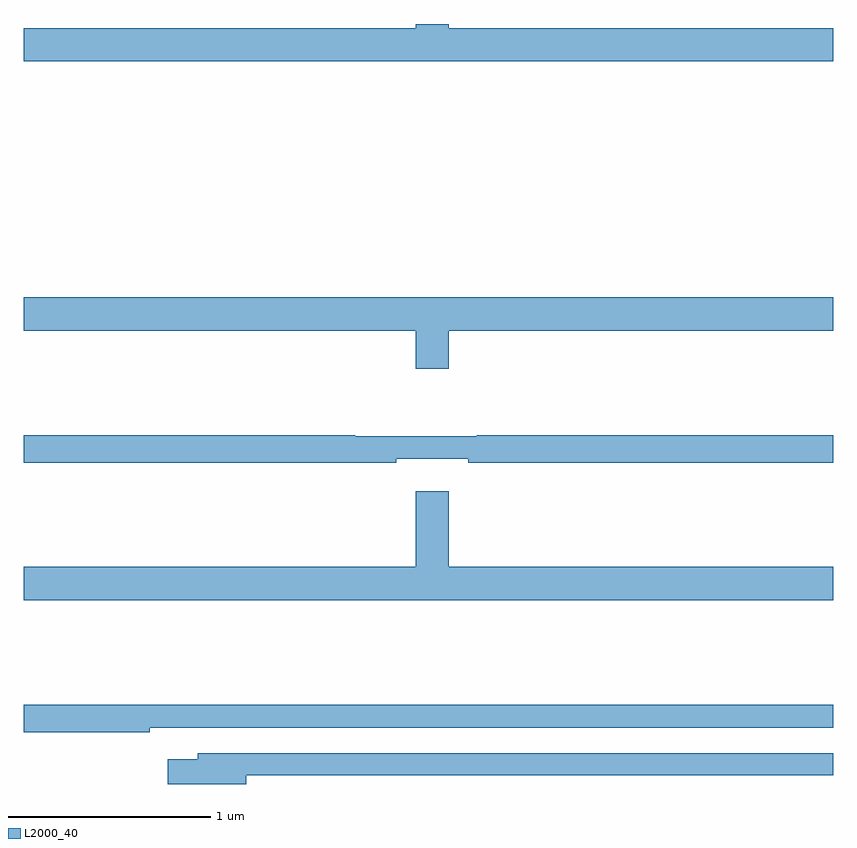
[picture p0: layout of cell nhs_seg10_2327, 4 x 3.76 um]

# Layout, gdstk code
import gdstk
lib = gdstk.Library(unit=1e-6, precision=1e-09)
def P(c, l, *ps):  # polygons
    for p in ps: c.add(gdstk.Polygon(p, *l))
L2000_40 = (2000, 40)

nhs_seg10_2327 = lib.new_cell('nhs_seg10_2327')
P(nhs_seg10_2327, L2000_40, [(239,1300.48),(237.1,1300.48),(237.1,1300.5),(236.936,1300.5),(236.936,1300.48),(235,1300.48),(235,1300.316),(239,1300.316)],
  [(237.1,1298.984),(239,1298.984),(239,1299.148),(235,1299.148),(235,1298.984),(236.936,1298.984),(236.936,1298.796),(237.1,1298.796)],
  [(236.84,1298.351),(237.196,1298.351),(237.196,1298.332),(239,1298.332),(239,1298.468),(237.238,1298.468),(237.238,1298.461),(236.638,1298.461),(236.638,1298.468),(235,1298.468),(235,1298.332),(236.84,1298.332)],
  [(239,1297.816),(237.1,1297.816),(237.1,1298.191),(236.936,1298.191),(236.936,1297.816),(235,1297.816),(235,1297.652),(239,1297.652)],
  [(235.622,1297.02),(239,1297.02),(239,1297.136),(235,1297.136),(235,1297),(235.622,1297)],
  [(236.098,1296.786),(239,1296.786),(239,1296.894),(235.859,1296.894),(235.859,1296.865),(235.71,1296.865),(235.71,1296.743),(236.098,1296.743)])

lib.write_gds('nhs_seg10_2327.gds')
